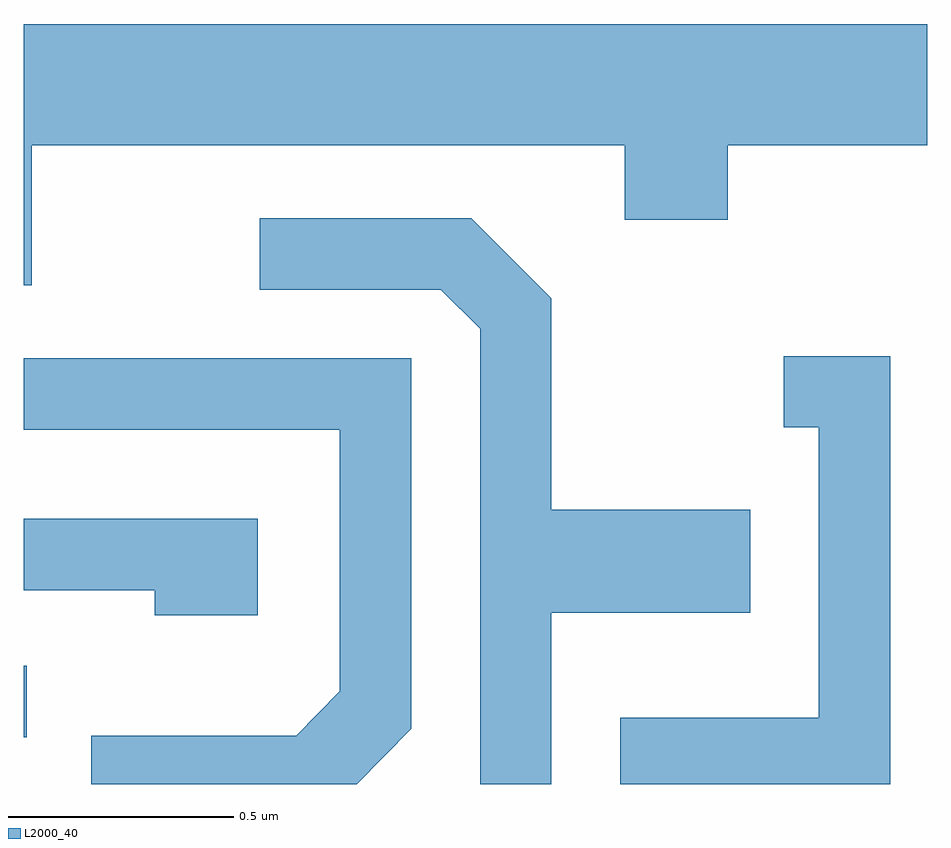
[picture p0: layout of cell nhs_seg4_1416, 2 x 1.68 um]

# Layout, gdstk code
import gdstk
lib = gdstk.Library(unit=1e-6, precision=1e-09)
def R(c, l, rs):  # rectangles x0, y0, x1, y1
    for r in rs: c.add(gdstk.rectangle(r[:2], r[2:], *l))
def P(c, l, *ps):  # polygons
    for p in ps: c.add(gdstk.Polygon(p, *l))
L2000_40 = (2000, 40)

nhs_seg4_1416 = lib.new_cell('nhs_seg4_1416')
R(nhs_seg4_1416, L2000_40, [(195.611,1300.086,195.618,1300.244)])
P(nhs_seg4_1416, L2000_40, [(195.629,1301.396),(196.941,1301.396),(196.941,1301.231),(197.169,1301.231),(197.169,1301.396),(197.611,1301.396),(197.611,1301.664),(195.611,1301.664),(195.611,1301.086),(195.629,1301.086)],
  [(196.779,1300.361),(197.219,1300.361),(197.219,1300.589),(196.779,1300.589),(196.779,1301.057),(196.602,1301.234),(196.133,1301.234),(196.133,1301.076),(196.534,1301.076),(196.621,1300.989),(196.621,1299.982),(196.779,1299.982)],
  [(197.529,1300.929),(197.293,1300.929),(197.293,1300.771),(197.371,1300.771),(197.371,1300.129),(196.931,1300.129),(196.931,1299.982),(197.529,1299.982)],
  [(196.469,1300.104),(196.469,1300.924),(195.611,1300.924),(195.611,1300.766),(196.311,1300.766),(196.311,1300.187),(196.214,1300.089),(195.761,1300.089),(195.761,1299.982),(196.348,1299.982)],
  [(196.129,1300.569),(195.611,1300.569),(195.611,1300.411),(195.901,1300.411),(195.901,1300.356),(196.129,1300.356)])

lib.write_gds('nhs_seg4_1416.gds')
